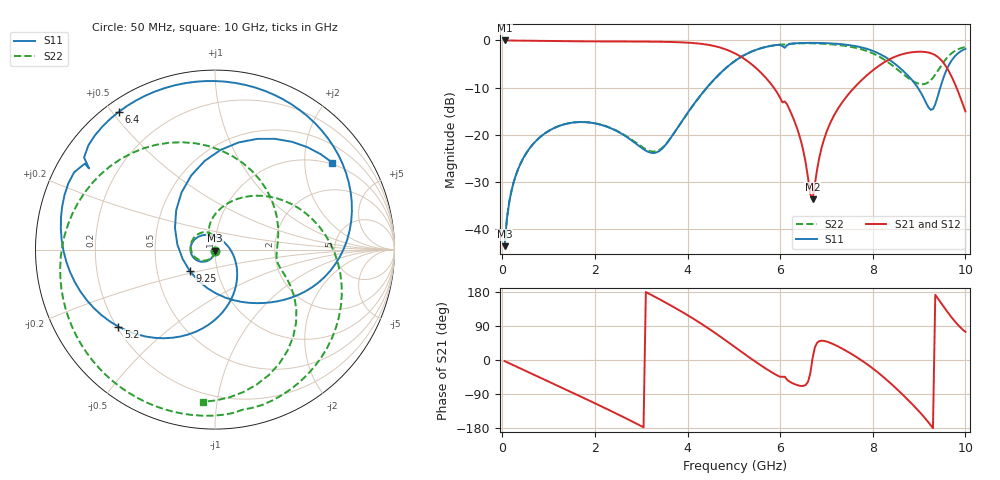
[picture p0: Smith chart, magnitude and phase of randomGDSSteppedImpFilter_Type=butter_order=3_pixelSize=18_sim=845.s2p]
! freq	dB(S11)	phase(S11)	dB(S12)	phase(S12)
!  dB(S21)	phase(S21)	dB(S22)	phase(S22)
!S-par simulation data
#  GHz  S  DB  R 50
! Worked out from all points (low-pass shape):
!   200 points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, 50 MHz to 10 GHz, reference 50 ohm
!   highest |S21| = -0.01 dB at 50 MHz (marker M1); lowest = -33.6 dB at 6.7 GHz (marker M2)
!   |S21| within 3 dB of the highest: start of sweep to 5.074 GHz; 8.605 GHz to 9.325 GHz (720.2 MHz wide, 8.03 % of centre)
!   lowest |S11| = -43.5 dB at 50 MHz (marker M3), VSWR 1.01, Z = 50 - j0.666 ohm
!   |S11| at or under -10 dB: start of sweep to 4.416 GHz; 8.972 GHz to 9.457 GHz (485.7 MHz wide, 5.27 % of centre)
!   |S22| runs from -43.5 to -0.6 dB; largest |S21 - S12| = 0
!   S11 on the Smith chart (normalised r, x): 50 MHz: 1.00, -0.01; 5.2 GHz: 0.21, -0.34; 6.4 GHz: 0.04, +0.52; 9.25 GHz: 0.74, -0.18; 10 GHz: 0.95, +2.73
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0.05  -43.53 -90.4  -0.01 -2.9  -0.01 -2.9  -43.53 -90.8
0.2  -31.75 -100.3  -0.02 -11.5  -0.02 -11.5  -31.75 -101.7
0.5  -24.13 -117.2  -0.06 -28.5  -0.06 -28.5  -24.13 -120.8
1.15  -18.40 -151.9  -0.14 -65.4  -0.14 -65.4  -18.39 -160.7
1.75  -17.27 176.3  -0.20 -99.7  -0.20 -99.7  -17.25 162.3
2.65  -20.19 122.7  -0.23 -152.7  -0.23 -152.7  -20.06 109.6
3.4  -23.32 28.2  -0.28 160.0  -0.28 160.0  -23.11 106.4
4.3  -11.38 -67.8  -0.72 95.5  -0.72 95.5  -11.43 74.4
5.05  -4.16 -128.6  -2.88 31.7  -2.88 31.7  -4.16 7.8
5.2  -3.24 -141.4  -3.74 18.5  -3.74 18.5  -3.24 -6.1
5.75  -1.24 172.3  -8.58 -27.3  -8.58 -27.3  -1.25 -53.6
6.4  -0.57 125.0  -19.63 -67.4  -19.63 -67.4  -0.62 -101.0
6.7  -0.51 103.7  -33.62 4.6  -33.62 4.6  -0.62 -121.1
7  -0.58 83.0  -19.41 48.8  -19.41 48.8  -0.75 -141.1
7.6  -1.15 41.1  -9.98 11.5  -9.98 11.5  -1.50 174.5
8.05  -2.41 8.1  -5.95 -27.0  -5.95 -27.0  -2.96 131.0
8.35  -4.02 -14.0  -4.05 -57.7  -4.05 -57.7  -4.75 93.7
8.8  -7.86 -47.3  -2.56 -110.1  -2.56 -110.1  -8.20 27.6
9.25  -14.69 -139.4  -2.69 -171.8  -2.69 -171.8  -8.44 -15.9
9.6  -6.07 96.7  -5.80 129.0  -5.80 129.0  -3.71 -48.1
9.8  -3.07 61.5  -9.80 98.0  -9.80 98.0  -2.08 -72.9
10  -1.79 36.6  -15.01 74.3  -15.01 74.3  -1.40 -94.6
